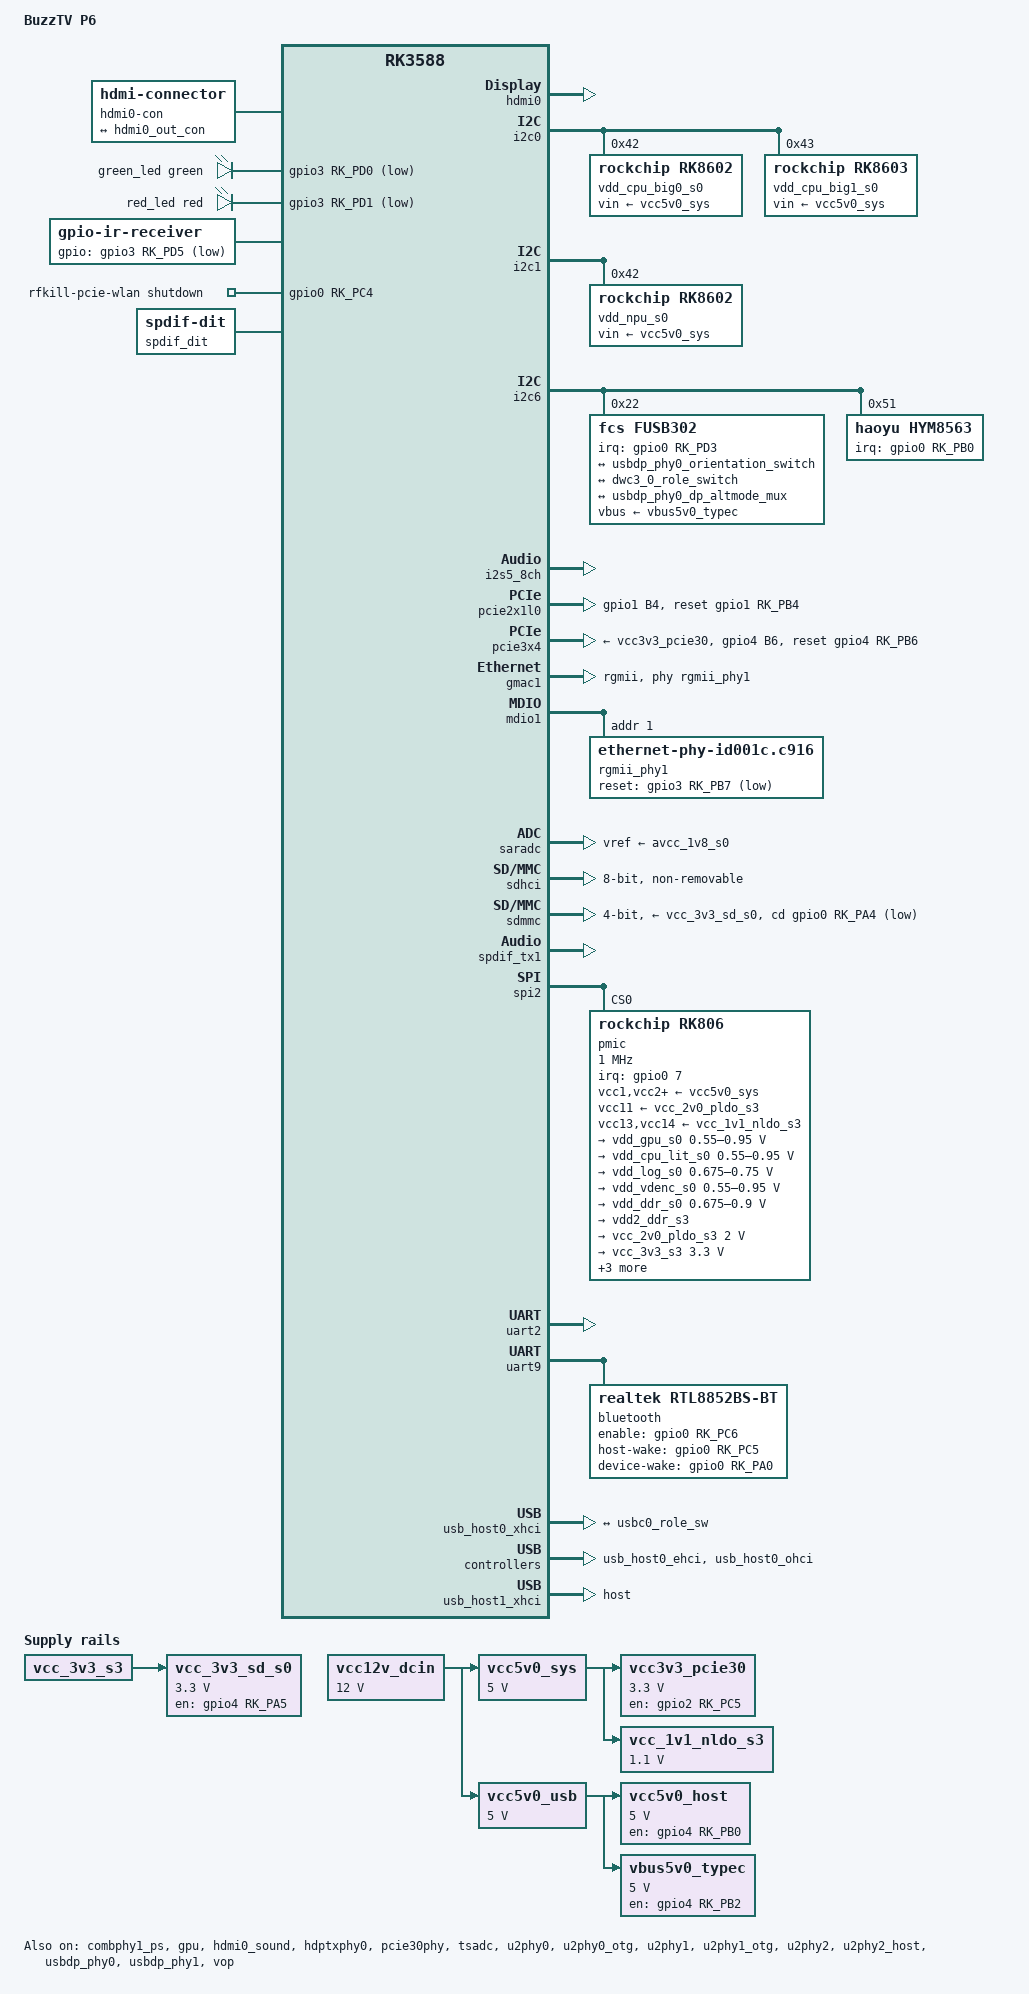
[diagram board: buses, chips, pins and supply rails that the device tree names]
// SPDX-License-Identifier: (GPL-2.0+ OR MIT)
/*
 * Copyright (c) 2024, Mario Bălănică <mariobalanica02@gmail.com>
 */

/dts-v1/;

#include <dt-bindings/gpio/gpio.h>
#include <dt-bindings/leds/common.h>
#include <dt-bindings/soc/rockchip,vop2.h>
#include <dt-bindings/usb/pd.h>
#include "rk3588.dtsi"

/ {
	model = "BuzzTV P6";
	compatible = "buzztv,p6", "rockchip,rk3588";

	aliases {
		ethernet0 = &gmac1;
		mmc0 = &sdhci;
		mmc1 = &sdmmc;
	};

	chosen {
		stdout-path = "serial2:1500000n8";
	};

	hdmi0-con {
		compatible = "hdmi-connector";
		type = "a";

		port {
			hdmi0_con_in: endpoint {
				remote-endpoint = <&hdmi0_out_con>;
			};
		};
	};

	leds {
		compatible = "gpio-leds";
		pinctrl-names = "default";
		pinctrl-0 = <&led_pins>;

		green_led: led-0 {
			color = <LED_COLOR_ID_GREEN>;
			gpios = <&gpio3 RK_PD0 GPIO_ACTIVE_LOW>;
			default-state = "on";
		};

		red_led: led-1 {
			color = <LED_COLOR_ID_RED>;
			gpios = <&gpio3 RK_PD1 GPIO_ACTIVE_LOW>;
		};
	};

	ir-receiver {
		compatible = "gpio-ir-receiver";
		gpios = <&gpio3 RK_PD5 GPIO_ACTIVE_LOW>;
		pinctrl-names = "default";
		pinctrl-0 = <&ir_receiver_pin>;
	};

	rfkill {
		compatible = "rfkill-gpio";
		label = "rfkill-pcie-wlan";
		radio-type = "wlan";
		shutdown-gpios = <&gpio0 RK_PC4 GPIO_ACTIVE_HIGH>;
	};

	spdif_dit: spdif-dit {
		compatible = "linux,spdif-dit";
		#sound-dai-cells = <0>;
	};

	spdif_sound: spdif-sound {
		compatible = "simple-audio-card";
		simple-audio-card,name = "SPDIF";

		simple-audio-card,cpu {
			sound-dai = <&spdif_tx1>;
		};

		simple-audio-card,codec {
			sound-dai = <&spdif_dit>;
		};
	};

	vcc12v_dcin: regulator-vcc12v-dcin {
		compatible = "regulator-fixed";
		regulator-name = "vcc12v_dcin";
		regulator-always-on;
		regulator-boot-on;
		regulator-min-microvolt = <12000000>;
		regulator-max-microvolt = <12000000>;
	};

	vcc5v0_sys: regulator-vcc5v0-sys {
		compatible = "regulator-fixed";
		regulator-name = "vcc5v0_sys";
		regulator-always-on;
		regulator-boot-on;
		regulator-min-microvolt = <5000000>;
		regulator-max-microvolt = <5000000>;
		vin-supply = <&vcc12v_dcin>;
	};

	vcc5v0_usb: regulator-vcc5v0-usb {
		compatible = "regulator-fixed";
		regulator-name = "vcc5v0_usb";
		regulator-always-on;
		regulator-boot-on;
		regulator-min-microvolt = <5000000>;
		regulator-max-microvolt = <5000000>;
		vin-supply = <&vcc12v_dcin>;
	};

	vcc5v0_host: regulator-vcc5v0-host {
		compatible = "regulator-fixed";
		regulator-name = "vcc5v0_host";
		regulator-boot-on;
		regulator-always-on;
		regulator-min-microvolt = <5000000>;
		regulator-max-microvolt = <5000000>;
		enable-active-high;
		gpio = <&gpio4 RK_PB0 GPIO_ACTIVE_HIGH>;
		pinctrl-names = "default";
		pinctrl-0 = <&vcc5v0_host_en>;
		vin-supply = <&vcc5v0_usb>;
	};

	vbus5v0_typec: regulator-vbus5v0-typec {
		compatible = "regulator-fixed";
		regulator-name = "vbus5v0_typec";
		regulator-boot-on;
		regulator-min-microvolt = <5000000>;
		regulator-max-microvolt = <5000000>;
		enable-active-high;
		gpio = <&gpio4 RK_PB2 GPIO_ACTIVE_HIGH>;
		pinctrl-names = "default";
		pinctrl-0 = <&typec5v_pwren>;
		vin-supply = <&vcc5v0_usb>;
	};

	vcc3v3_pcie30: regulator-vcc3v3-pcie30 {
		compatible = "regulator-fixed";
		regulator-name = "vcc3v3_pcie30";
		regulator-min-microvolt = <3300000>;
		regulator-max-microvolt = <3300000>;
		enable-active-high;
		gpios = <&gpio2 RK_PC5 GPIO_ACTIVE_HIGH>;
		pinctrl-names = "default";
		pinctrl-0 = <&pcie3_vcc3v3_en>;
		startup-delay-us = <5000>;
		vin-supply = <&vcc5v0_sys>;
	};

	vcc_3v3_sd_s0: regulator-vcc-3v3-sd-s0 {
		compatible = "regulator-fixed";
		regulator-name = "vcc_3v3_sd_s0";
		regulator-boot-on;
		regulator-max-microvolt = <3300000>;
		regulator-min-microvolt = <3300000>;
		enable-active-high;
		gpios = <&gpio4 RK_PA5 GPIO_ACTIVE_HIGH>;
		pinctrl-names = "default";
		pinctrl-0 = <&sd_s0_pwr>;
		vin-supply = <&vcc_3v3_s3>;
	};

	vcc_1v1_nldo_s3: regulator-vcc-1v1-nldo-s3 {
		compatible = "regulator-fixed";
		regulator-name = "vcc_1v1_nldo_s3";
		regulator-always-on;
		regulator-boot-on;
		regulator-min-microvolt = <1100000>;
		regulator-max-microvolt = <1100000>;
		vin-supply = <&vcc5v0_sys>;
	};
};

&combphy1_ps {
	status = "okay";
};

&cpu_b0 {
	cpu-supply = <&vdd_cpu_big0_s0>;
};

&cpu_b1 {
	cpu-supply = <&vdd_cpu_big0_s0>;
};

&cpu_b2 {
	cpu-supply = <&vdd_cpu_big1_s0>;
};

&cpu_b3 {
	cpu-supply = <&vdd_cpu_big1_s0>;
};

&cpu_l0 {
	cpu-supply = <&vdd_cpu_lit_s0>;
};

&cpu_l1 {
	cpu-supply = <&vdd_cpu_lit_s0>;
};

&cpu_l2 {
	cpu-supply = <&vdd_cpu_lit_s0>;
};

&cpu_l3 {
	cpu-supply = <&vdd_cpu_lit_s0>;
};

&gpu {
	mali-supply = <&vdd_gpu_s0>;
	status = "okay";
};

&hdmi0 {
	pinctrl-names = "default";
	pinctrl-0 = <&hdmim0_tx0_cec
		     &hdmim1_tx0_hpd
		     &hdmim0_tx0_scl
		     &hdmim0_tx0_sda>;
	status = "okay";
};

&hdmi0_in {
	hdmi0_in_vp0: endpoint {
		remote-endpoint = <&vp0_out_hdmi0>;
	};
};

&hdmi0_out {
	hdmi0_out_con: endpoint {
		remote-endpoint = <&hdmi0_con_in>;
	};
};

&hdmi0_sound {
 	status = "okay";
};

&hdptxphy0 {
	status = "okay";
};

&i2c0 {
	pinctrl-names = "default";
	pinctrl-0 = <&i2c0m2_xfer>;
	status = "okay";

	vdd_cpu_big0_s0: regulator@42 {
		compatible = "rockchip,rk8602";
		reg = <0x42>;
		fcs,suspend-voltage-selector = <1>;
		regulator-name = "vdd_cpu_big0_s0";
		regulator-always-on;
		regulator-boot-on;
		regulator-min-microvolt = <550000>;
		regulator-max-microvolt = <1050000>;
		regulator-ramp-delay = <2300>;
		vin-supply = <&vcc5v0_sys>;

		regulator-state-mem {
			regulator-off-in-suspend;
		};
	};

	vdd_cpu_big1_s0: regulator@43 {
		compatible = "rockchip,rk8603", "rockchip,rk8602";
		reg = <0x43>;
		fcs,suspend-voltage-selector = <1>;
		regulator-name = "vdd_cpu_big1_s0";
		regulator-always-on;
		regulator-boot-on;
		regulator-min-microvolt = <550000>;
		regulator-max-microvolt = <1050000>;
		regulator-ramp-delay = <2300>;
		vin-supply = <&vcc5v0_sys>;

		regulator-state-mem {
			regulator-off-in-suspend;
		};
	};
};

&i2c1 {
	pinctrl-names = "default";
	pinctrl-0 = <&i2c1m2_xfer>;
	status = "okay";

	vdd_npu_s0: regulator@42 {
		compatible = "rockchip,rk8602";
		reg = <0x42>;
		fcs,suspend-voltage-selector = <1>;
		regulator-name = "vdd_npu_s0";
		regulator-always-on;
		regulator-boot-on;
		regulator-min-microvolt = <550000>;
		regulator-max-microvolt = <950000>;
		regulator-ramp-delay = <2300>;
		vin-supply = <&vcc5v0_sys>;

		regulator-state-mem {
			regulator-off-in-suspend;
		};
	};
};

&i2c6 {
	status = "okay";

	fusb302: typec-portc@22 {
		compatible = "fcs,fusb302";
		reg = <0x22>;
		interrupt-parent = <&gpio0>;
		interrupts = <RK_PD3 IRQ_TYPE_LEVEL_LOW>;
		pinctrl-names = "default";
		pinctrl-0 = <&usbc0_int>;
		vbus-supply = <&vbus5v0_typec>;

		usb_con: connector {
			compatible = "usb-c-connector";
			data-role = "dual";
			label = "USB-C";
			power-role = "source";
			source-pdos = <PDO_FIXED(5000, 2000, PDO_FIXED_USB_COMM)>;

			ports {
				#address-cells = <1>;
				#size-cells = <0>;

				port@0 {
					reg = <0>;

					usbc0_orien_sw: endpoint {
						remote-endpoint = <&usbdp_phy0_orientation_switch>;
					};
				};

				port@1 {
					reg = <1>;

					usbc0_role_sw: endpoint {
						remote-endpoint = <&dwc3_0_role_switch>;
					};
				};

				port@2 {
					reg = <2>;

					dp_altmode_mux: endpoint {
						remote-endpoint = <&usbdp_phy0_dp_altmode_mux>;
					};
				};
			};
		};
	};

	hym8563: rtc@51 {
		compatible = "haoyu,hym8563";
		reg = <0x51>;
		#clock-cells = <0>;
		clock-output-names = "hym8563";
		pinctrl-names = "default";
		pinctrl-0 = <&hym8563_int>;
		interrupt-parent = <&gpio0>;
		interrupts = <RK_PB0 IRQ_TYPE_LEVEL_LOW>;
		wakeup-source;
	};
};

&i2s5_8ch {
 	status = "okay";
};

/* RTL8852BE */
&pcie2x1l0 {
	pinctrl-names = "default";
	pinctrl-0 = <&pcie2_0_rst>;
	reset-gpios = <&gpio1 RK_PB4 GPIO_ACTIVE_HIGH>;
	status = "okay";
};

&pcie30phy {
	/*
	 * pcie3x4 is limited to 3x2 and requires x2 x2 PHY bifurcation to work.
	 * pcie3x2, however, is unused and needs to remain disabled.
	 */
	data-lanes = <1 1 2 2>;
	status = "okay";
};

/* M.2 M key */
&pcie3x4 {
	pinctrl-names = "default";
	pinctrl-0 = <&pcie3_rst>;
	reset-gpios = <&gpio4 RK_PB6 GPIO_ACTIVE_HIGH>;
	vpcie3v3-supply = <&vcc3v3_pcie30>;
	status = "okay";
};

&gmac1 {
	clock_in_out = "output";
	phy-handle = <&rgmii_phy1>;
	phy-mode = "rgmii";
	pinctrl-names = "default";
	pinctrl-0 = <&gmac1_miim
		     &gmac1_tx_bus2
		     &gmac1_rx_bus2
		     &gmac1_rgmii_clk
		     &gmac1_rgmii_bus>;
	rx_delay = <0x00>;
	tx_delay = <0x43>;
	status = "okay";
};

&mdio1 {
	/* RTL8211F */
	rgmii_phy1: ethernet-phy@1 {
		compatible = "ethernet-phy-id001c.c916";
		reg = <0x1>;
		pinctrl-names = "default";
		pinctrl-0 = <&rtl8211f_rst>;
		reset-assert-us = <20000>;
		reset-deassert-us = <100000>;
		reset-gpios = <&gpio3 RK_PB7 GPIO_ACTIVE_LOW>;
	};
};

&pd_gpu {
 	domain-supply = <&vdd_gpu_s0>;
};

&pinctrl {
	hym8563 {
		hym8563_int: hym8563-int {
			rockchip,pins = <0 RK_PB0 RK_FUNC_GPIO &pcfg_pull_up>;
		};
	};

	leds {
		led_pins: led-pins {
			rockchip,pins = <3 RK_PD0 RK_FUNC_GPIO &pcfg_pull_none>,
					<3 RK_PD1 RK_FUNC_GPIO &pcfg_pull_none>;
		};
	};

	ir-receiver {
		ir_receiver_pin: ir-receiver-pin {
			rockchip,pins = <3 RK_PD5 RK_FUNC_GPIO &pcfg_pull_none>;
		};
	};

	pcie2 {
		pcie2_0_rst: pcie2-0-rst {
			rockchip,pins = <1 RK_PB4 RK_FUNC_GPIO &pcfg_pull_none>;
		};
	};

	pcie3 {
		pcie3_rst: pcie3-rst {
			rockchip,pins = <4 RK_PB6 RK_FUNC_GPIO &pcfg_pull_none>;
		};

		pcie3_vcc3v3_en: pcie3-vcc3v3-en {
			rockchip,pins = <2 RK_PC5 RK_FUNC_GPIO &pcfg_pull_none>;
		};
	};

	rtl8211f {
		rtl8211f_rst: rtl8211f-rst {
			rockchip,pins = <3 RK_PB7 RK_FUNC_GPIO &pcfg_pull_none>;
		};
	};

	usb {
		vcc5v0_host_en: vcc5v0-host-en {
			rockchip,pins = <4 RK_PB0 RK_FUNC_GPIO &pcfg_pull_none>;
		};
	};

	usb-typec {
		usbc0_int: usbc0-int {
			rockchip,pins = <0 RK_PD3 RK_FUNC_GPIO &pcfg_pull_up>;
		};

		typec5v_pwren: typec5v-pwren {
			rockchip,pins = <4 RK_PB2 RK_FUNC_GPIO &pcfg_pull_none>;
		};
	};

	sdmmc {
		sd_s0_pwr: sd-s0-pwr {
			rockchip,pins = <4 RK_PA5 RK_FUNC_GPIO &pcfg_pull_none>;
		};
	};

	bluetooth {
		bt_reset: bt-reset {
			rockchip,pins = <0 RK_PC6 RK_FUNC_GPIO &pcfg_pull_none>;
		};

		bt_host_wake: bt-host-wake {
			rockchip,pins = <0 RK_PC5 RK_FUNC_GPIO &pcfg_pull_none>;
		};

		bt_dev_wake: bt-dev-wake {
			rockchip,pins = <0 RK_PA0 RK_FUNC_GPIO &pcfg_pull_none>;
		};
	};
};

&saradc {
	vref-supply = <&avcc_1v8_s0>;
	status = "okay";
};

&sdhci {
	bus-width = <8>;
	no-sdio;
	no-sd;
	non-removable;
	mmc-hs400-1_8v;
	mmc-hs400-enhanced-strobe;
	status = "okay";
};

&sdmmc {
	max-frequency = <200000000>;
	no-sdio;
	no-mmc;
	bus-width = <4>;
	cap-mmc-highspeed;
	cap-sd-highspeed;
	cd-gpios = <&gpio0 RK_PA4 GPIO_ACTIVE_LOW>;
	disable-wp;
	sd-uhs-sdr104;
	vmmc-supply = <&vcc_3v3_sd_s0>;
	vqmmc-supply = <&vccio_sd_s0>;
	status = "okay";
};

&spdif_tx1 {
	pinctrl-names = "default";
	pinctrl-0 = <&spdif1m1_tx>;
	status = "okay";
};

&spi2 {
	status = "okay";
	assigned-clocks = <&cru CLK_SPI2>;
	assigned-clock-rates = <200000000>;
	pinctrl-names = "default";
	pinctrl-0 = <&spi2m2_cs0 &spi2m2_pins>;
	num-cs = <1>;

	pmic@0 {
		compatible = "rockchip,rk806";
		spi-max-frequency = <1000000>;
		reg = <0x0>;

		interrupt-parent = <&gpio0>;
		interrupts = <7 IRQ_TYPE_LEVEL_LOW>;

		pinctrl-names = "default";
		pinctrl-0 = <&pmic_pins>, <&rk806_dvs1_null>,
			    <&rk806_dvs2_null>, <&rk806_dvs3_null>;

		system-power-controller;

		vcc1-supply = <&vcc5v0_sys>;
		vcc2-supply = <&vcc5v0_sys>;
		vcc3-supply = <&vcc5v0_sys>;
		vcc4-supply = <&vcc5v0_sys>;
		vcc5-supply = <&vcc5v0_sys>;
		vcc6-supply = <&vcc5v0_sys>;
		vcc7-supply = <&vcc5v0_sys>;
		vcc8-supply = <&vcc5v0_sys>;
		vcc9-supply = <&vcc5v0_sys>;
		vcc10-supply = <&vcc5v0_sys>;
		vcc11-supply = <&vcc_2v0_pldo_s3>;
		vcc12-supply = <&vcc5v0_sys>;
		vcc13-supply = <&vcc_1v1_nldo_s3>;
		vcc14-supply = <&vcc_1v1_nldo_s3>;
		vcca-supply = <&vcc5v0_sys>;

		gpio-controller;
		#gpio-cells = <2>;

		rk806_dvs1_null: dvs1-null-pins {
			pins = "gpio_pwrctrl1";
			function = "pin_fun0";
		};

		rk806_dvs2_null: dvs2-null-pins {
			pins = "gpio_pwrctrl2";
			function = "pin_fun0";
		};

		rk806_dvs3_null: dvs3-null-pins {
			pins = "gpio_pwrctrl3";
			function = "pin_fun0";
		};

		regulators {
			vdd_gpu_s0: vdd_gpu_mem_s0: dcdc-reg1 {
				regulator-boot-on;
				regulator-min-microvolt = <550000>;
				regulator-max-microvolt = <950000>;
				regulator-ramp-delay = <12500>;
				regulator-name = "vdd_gpu_s0";
				regulator-enable-ramp-delay = <400>;

				regulator-state-mem {
					regulator-off-in-suspend;
				};
			};

			vdd_cpu_lit_s0: vdd_cpu_lit_mem_s0: dcdc-reg2 {
				regulator-always-on;
				regulator-boot-on;
				regulator-min-microvolt = <550000>;
				regulator-max-microvolt = <950000>;
				regulator-ramp-delay = <12500>;
				regulator-name = "vdd_cpu_lit_s0";

				regulator-state-mem {
					regulator-off-in-suspend;
				};
			};

			vdd_log_s0: dcdc-reg3 {
				regulator-always-on;
				regulator-boot-on;
				regulator-min-microvolt = <675000>;
				regulator-max-microvolt = <750000>;
				regulator-ramp-delay = <12500>;
				regulator-name = "vdd_log_s0";

				regulator-state-mem {
					regulator-off-in-suspend;
					regulator-suspend-microvolt = <750000>;
				};
			};

			vdd_vdenc_s0: vdd_vdenc_mem_s0: dcdc-reg4 {
				regulator-always-on;
				regulator-boot-on;
				regulator-min-microvolt = <550000>;
				regulator-max-microvolt = <950000>;
				regulator-ramp-delay = <12500>;
				regulator-name = "vdd_vdenc_s0";

				regulator-state-mem {
					regulator-off-in-suspend;
				};
			};

			vdd_ddr_s0: dcdc-reg5 {
				regulator-always-on;
				regulator-boot-on;
				regulator-min-microvolt = <675000>;
				regulator-max-microvolt = <900000>;
				regulator-ramp-delay = <12500>;
				regulator-name = "vdd_ddr_s0";

				regulator-state-mem {
					regulator-off-in-suspend;
					regulator-suspend-microvolt = <850000>;
				};
			};

			vdd2_ddr_s3: dcdc-reg6 {
				regulator-always-on;
				regulator-boot-on;
				regulator-name = "vdd2_ddr_s3";

				regulator-state-mem {
					regulator-on-in-suspend;
				};
			};

			vcc_2v0_pldo_s3: dcdc-reg7 {
				regulator-always-on;
				regulator-boot-on;
				regulator-min-microvolt = <2000000>;
				regulator-max-microvolt = <2000000>;
				regulator-ramp-delay = <12500>;
				regulator-name = "vdd_2v0_pldo_s3";

				regulator-state-mem {
					regulator-on-in-suspend;
					regulator-suspend-microvolt = <2000000>;
				};
			};

			vcc_3v3_s3: dcdc-reg8 {
				regulator-always-on;
				regulator-boot-on;
				regulator-min-microvolt = <3300000>;
				regulator-max-microvolt = <3300000>;
				regulator-name = "vcc_3v3_s3";

				regulator-state-mem {
					regulator-on-in-suspend;
					regulator-suspend-microvolt = <3300000>;
				};
			};

			vddq_ddr_s0: dcdc-reg9 {
				regulator-always-on;
				regulator-boot-on;
				regulator-name = "vddq_ddr_s0";

				regulator-state-mem {
					regulator-off-in-suspend;
				};
			};

			vcc_1v8_s3: dcdc-reg10 {
				regulator-always-on;
				regulator-boot-on;
				regulator-min-microvolt = <1800000>;
				regulator-max-microvolt = <1800000>;
				regulator-name = "vcc_1v8_s3";

				regulator-state-mem {
					regulator-on-in-suspend;
					regulator-suspend-microvolt = <1800000>;
				};
			};

			avcc_1v8_s0: pldo-reg1 {
				regulator-always-on;
				regulator-boot-on;
				regulator-min-microvolt = <1800000>;
				regulator-max-microvolt = <1800000>;
				regulator-name = "avcc_1v8_s0";

				regulator-state-mem {
					regulator-off-in-suspend;
				};
			};

			vcc_1v8_s0: pldo-reg2 {
				regulator-always-on;
				regulator-boot-on;
				regulator-min-microvolt = <1800000>;
				regulator-max-microvolt = <1800000>;
				regulator-name = "vcc_1v8_s0";

				regulator-state-mem {
					regulator-off-in-suspend;
					regulator-suspend-microvolt = <1800000>;
				};
			};

			avdd_1v2_s0: pldo-reg3 {
				regulator-always-on;
				regulator-boot-on;
				regulator-min-microvolt = <1200000>;
				regulator-max-microvolt = <1200000>;
				regulator-name = "avdd_1v2_s0";

				regulator-state-mem {
					regulator-off-in-suspend;
				};
			};

			vcc_3v3_s0: pldo-reg4 {
				regulator-always-on;
				regulator-boot-on;
				regulator-min-microvolt = <3300000>;
				regulator-max-microvolt = <3300000>;
				regulator-ramp-delay = <12500>;
				regulator-name = "vcc_3v3_s0";

				regulator-state-mem {
					regulator-off-in-suspend;
				};
			};

			vccio_sd_s0: pldo-reg5 {
				regulator-always-on;
				regulator-boot-on;
				regulator-min-microvolt = <1800000>;
				regulator-max-microvolt = <3300000>;
				regulator-ramp-delay = <12500>;
				regulator-name = "vccio_sd_s0";

				regulator-state-mem {
					regulator-off-in-suspend;
				};
			};

			pldo6_s3: pldo-reg6 {
				regulator-always-on;
				regulator-boot-on;
				regulator-min-microvolt = <1800000>;
				regulator-max-microvolt = <1800000>;
				regulator-name = "pldo6_s3";

				regulator-state-mem {
					regulator-on-in-suspend;
					regulator-suspend-microvolt = <1800000>;
				};
			};

			vdd_0v75_s3: nldo-reg1 {
				regulator-always-on;
				regulator-boot-on;
				regulator-min-microvolt = <750000>;
				regulator-max-microvolt = <750000>;
				regulator-name = "vdd_0v75_s3";

				regulator-state-mem {
					regulator-on-in-suspend;
					regulator-suspend-microvolt = <750000>;
				};
			};

			vdd_ddr_pll_s0: nldo-reg2 {
				regulator-always-on;
				regulator-boot-on;
				regulator-min-microvolt = <850000>;
				regulator-max-microvolt = <850000>;
				regulator-name = "vdd_ddr_pll_s0";

				regulator-state-mem {
					regulator-off-in-suspend;
					regulator-suspend-microvolt = <850000>;
				};
			};

			avdd_0v75_s0: nldo-reg3 {
				regulator-always-on;
				regulator-boot-on;
				regulator-min-microvolt = <750000>;
				regulator-max-microvolt = <750000>;
				regulator-name = "avdd_0v75_s0";

				regulator-state-mem {
					regulator-off-in-suspend;
				};
			};

			vdd_0v85_s0: nldo-reg4 {
				regulator-always-on;
				regulator-boot-on;
				regulator-min-microvolt = <850000>;
				regulator-max-microvolt = <850000>;
				regulator-name = "vdd_0v85_s0";

				regulator-state-mem {
					regulator-off-in-suspend;
				};
			};

			vdd_0v75_s0: nldo-reg5 {
				regulator-always-on;
				regulator-boot-on;
				regulator-min-microvolt = <750000>;
				regulator-max-microvolt = <750000>;
				regulator-name = "vdd_0v75_s0";

				regulator-state-mem {
					regulator-off-in-suspend;
				};
			};
		};
	};
};

&tsadc {
	status = "okay";
};

&uart2 {
	pinctrl-0 = <&uart2m0_xfer>;
	status = "okay";
};

&uart9 {
	pinctrl-names = "default";
	pinctrl-0 = <&uart9m0_xfer>, <&uart9m0_rtsn>, <&uart9m0_ctsn>;
	uart-has-rtscts;
	status = "okay";

	bluetooth {
		compatible = "realtek,rtl8852bs-bt", "realtek,rtl8822cs-bt";
		enable-gpios = <&gpio0 RK_PC6 GPIO_ACTIVE_HIGH>;
		host-wake-gpios = <&gpio0 RK_PC5 GPIO_ACTIVE_HIGH>;
		device-wake-gpios = <&gpio0 RK_PA0 GPIO_ACTIVE_HIGH>;
		pinctrl-names = "default";
		pinctrl-0 = <&bt_reset>, <&bt_host_wake>, <&bt_dev_wake>;
	};
};

&u2phy0 {
	status = "okay";
};

&u2phy0_otg {
	status = "okay";
};

&u2phy1 {
	status = "okay";
};

&u2phy1_otg {
	phy-supply = <&vcc5v0_host>;
	status = "okay";
};

&u2phy2 {
	status = "okay";
};

&u2phy2_host {
	phy-supply = <&vcc5v0_host>;
	status = "okay";
};

&usbdp_phy0 {
	mode-switch;
	orientation-switch;
	sbu1-dc-gpios = <&gpio4 RK_PA6 GPIO_ACTIVE_HIGH>;
	sbu2-dc-gpios = <&gpio4 RK_PA7 GPIO_ACTIVE_HIGH>;
	status = "okay";

	port {
		#address-cells = <1>;
		#size-cells = <0>;

		usbdp_phy0_orientation_switch: endpoint@0 {
			reg = <0>;
			remote-endpoint = <&usbc0_orien_sw>;
		};

		usbdp_phy0_dp_altmode_mux: endpoint@1 {
			reg = <1>;
			remote-endpoint = <&dp_altmode_mux>;
		};
	};
};

&usbdp_phy1 {
	phy-supply = <&vcc5v0_host>;
	status = "okay";
};

/* Front USB Type-C port */
&usb_host0_xhci {
	usb-role-switch;
	status = "okay";

	port {
		dwc3_0_role_switch: endpoint {
			remote-endpoint = <&usbc0_role_sw>;
		};
	};
};

/* Front USB 2.0 port */
&usb_host0_ehci {
	status = "okay";
};

&usb_host0_ohci {
	status = "okay";
};

/* Front USB 3.0 port */
&usb_host1_xhci {
	dr_mode = "host";
	status = "okay";
};

&vop_mmu {
	status = "okay";
};

&vop {
	status = "okay";
};

&vp0 {
	vp0_out_hdmi0: endpoint@ROCKCHIP_VOP2_EP_HDMI0 {
		reg = <ROCKCHIP_VOP2_EP_HDMI0>;
		remote-endpoint = <&hdmi0_in_vp0>;
	};
};
